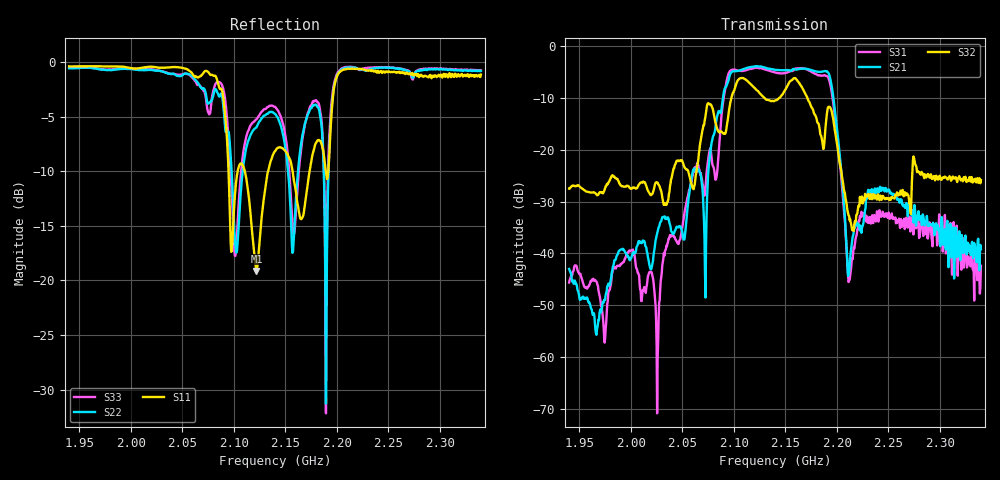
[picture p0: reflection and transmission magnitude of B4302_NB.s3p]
! Matrix data file written by TouchstoneData, EPCOS AG
! FILENAME: "newformat_LY82C_01_NB.s3p"
! COMMENT: "(LY82C_01_NB.s3p) Epcos AG 10/11/2011 5:08:5"
! INFO: nport=3, nfreq=801
! DATE: "Wed Oct 12 11:08:33 2011"
! USER: "WeiLong Lin"
! port | pin | signal
!  1  |  1  |  in
!  2  |  2  |  out
!  3  |  4  |  out
# MHZ S MA R 50
! freq  magS11 angS11  magS12 angS12  magS13 angS13  ...
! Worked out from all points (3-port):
!   801 points, 1.94 GHz to 2.34 GHz, reference 50 ohm
!   strongest paths, dB at 1.94 GHz, 2.04 GHz, 2.14 GHz, 2.24 GHz, 2.34 GHz:
!     S32: -27.5, -25.0, -10.5, -28.6, -25.9
!     S21: -43.0, -35.9, -4.6, -27.7, -39.2
!     S31: -45.6, -36.4, -5.1, -33.5, -42.4
!   lowest |S11| = -19.1 dB at 2.122 GHz (marker M1), VSWR 1.25, Z = 58.3 + j8.68 ohm
!   |S11| at or under -10 dB: 2.094867 GHz to 2.103713 GHz (8.846 MHz wide, 0.421 % of centre); 2.111 GHz to 2.133 GHz (22.64 MHz wide, 1.07 % of centre); 2.157 GHz to 2.174 GHz (16.48 MHz wide, 0.761 % of centre) (the widest 3 of 4)
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1940  0.9556 -122.4  0.007404 97.8  0.00534 130.5
      0.007069 97.8  0.9367 -84.9  0.04223 43.7
      0.005225 130.6  0.04215 43.6  0.9406 -85.0
2026  0.9436 -139.9  0.01715 124.5  0.001001 -157.4
      0.01636 124.3  0.9131 -99.3  0.04819 44.2
      0.0009793 -155.4  0.04812 44.2  0.916 -99.2
2072  0.9088 -166.7  0.00674 -32.5  0.03829 -129.4
      0.006462 -32.4  0.7393 -126.4  0.1996 74.0
      0.0382 -129.5  0.1994 73.9  0.7157 -126.5
2090  0.6719 142.3  0.3466 52.1  0.3101 -123.0
      0.3464 52.1  0.613 -161.7  0.1434 -98.6
      0.3096 -123.0  0.1434 -98.7  0.7451 -159.8
2122  0.1105 41.8  0.6408 -115.2  0.6213 64.3
      0.6406 -115.1  0.5025 -61.4  0.3798 -52.4
      0.6207 64.3  0.3788 -52.5  0.5468 -62.4
2140  0.3909 -98.7  0.592 -174.8  0.5583 9.2
      0.5921 -174.8  0.5794 -93.7  0.2989 -138.4
      0.5577 9.2  0.2987 -138.5  0.6239 -92.8
2171  0.2591 43.2  0.6046 90.4  0.5972 -86.1
      0.6047 90.4  0.5612 -21.1  0.3261 9.5
      0.5961 -86.1  0.3257 9.4  0.5663 -15.8
2192  0.3277 -6.6  0.5503 -17.7  0.4911 161.7
      0.5499 -17.6  0.3173 28.6  0.2608 19.5
      0.4904 161.8  0.2602 19.5  0.3756 26.5
2212  0.9313 -55.7  0.007043 -9.6  0.005578 152.7
      0.006745 -9.5  0.9436 -38.3  0.02225 -134.7
      0.005473 152.8  0.02292 -134.6  0.951 -39.4
2340  0.876 -98.6  0.0115 13.2  0.007657 157.5
      0.01098 13.2  0.9109 -71.2  0.05102 35.4
      0.007576 157.5  0.05095 35.4  0.9153 -71.2
